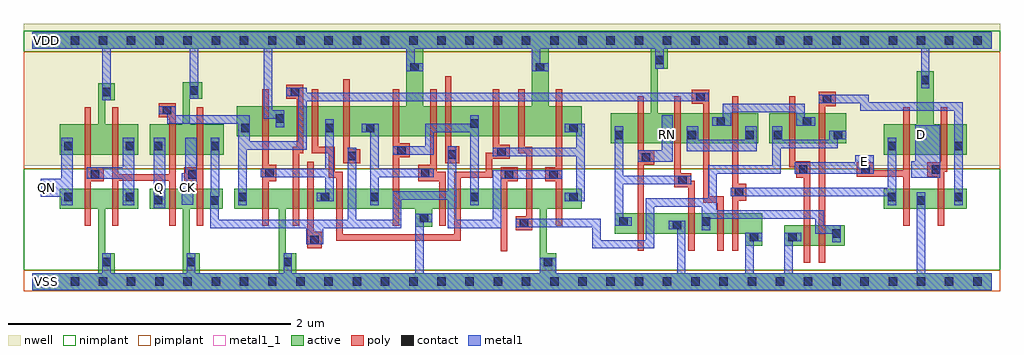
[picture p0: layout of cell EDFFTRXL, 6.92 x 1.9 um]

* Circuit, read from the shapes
.subckt EDFFTRXL CK D E Q QN RN VDD VSS
M1 VSS n1 QN VSS nfet w=0.145u l=0.045u
M2 n1 n2 VSS VSS nfet w=0.145u l=0.045u
M3 VSS n2 Q VSS nfet w=0.145u l=0.045u
M4 n3 CK VSS VSS nfet w=0.145u l=0.045u
M5 VSS n4 n2 VSS nfet w=0.145u l=0.045u
M6 n5 n2 VSS VSS nfet w=0.145u l=0.045u
M7 n4 n3 n5 VSS nfet w=0.145u l=0.045u
M8 n6 n7 n4 VSS nfet w=0.145u l=0.045u
M9 VSS n8 n6 VSS nfet w=0.145u l=0.045u
M10 n9 n6 VSS VSS nfet w=0.145u l=0.045u
M11 n8 n7 n9 VSS nfet w=0.145u l=0.045u
M12 n10 n3 n8 VSS nfet w=0.145u l=0.045u
M13 VSS n11 n10 VSS nfet w=0.145u l=0.045u
M14 n7 n3 VSS VSS nfet w=0.145u l=0.045u
M15 VSS RN n12 VSS nfet w=0.145u l=0.045u
M16 n11 n12 VSS VSS nfet w=0.145u l=0.045u
M17 n13 n2 n11 VSS nfet w=0.145u l=0.045u
M18 VSS n14 n13 VSS nfet w=0.145u l=0.045u
M19 n15 E VSS VSS nfet w=0.145u l=0.045u
M20 n11 n16 n15 VSS nfet w=0.145u l=0.045u
M21 VSS E n14 VSS nfet w=0.145u l=0.045u
M22 n16 D VSS VSS nfet w=0.145u l=0.045u
M23 VDD n1 QN VDD pfet w=0.215u l=0.045u
M24 n1 n2 VDD VDD pfet w=0.215u l=0.045u
M25 VDD n2 Q VDD pfet w=0.215u l=0.045u
M26 n3 CK VDD VDD pfet w=0.215u l=0.045u
M27 VDD n4 n2 VDD pfet w=0.215u l=0.045u
M28 n17 n2 VDD VDD pfet w=0.215u l=0.045u
M29 n4 n7 n17 VDD pfet w=0.215u l=0.045u
M30 n6 n3 n4 VDD pfet w=0.215u l=0.045u
M31 VDD n8 n6 VDD pfet w=0.215u l=0.045u
M32 n18 n6 VDD VDD pfet w=0.215u l=0.045u
M33 n8 n3 n18 VDD pfet w=0.215u l=0.045u
M34 n19 n7 n8 VDD pfet w=0.215u l=0.045u
M35 VDD n11 n19 VDD pfet w=0.215u l=0.045u
M36 n7 n3 VDD VDD pfet w=0.215u l=0.045u
M37 VDD RN n12 VDD pfet w=0.215u l=0.045u
M38 n20 n12 VDD VDD pfet w=0.215u l=0.045u
M39 n21 n2 n20 VDD pfet w=0.215u l=0.045u
M40 n20 n14 n21 VDD pfet w=0.215u l=0.045u
M41 n21 E n11 VDD pfet w=0.215u l=0.045u
M42 n11 n16 n21 VDD pfet w=0.215u l=0.045u
M43 VDD E n14 VDD pfet w=0.215u l=0.045u
M44 n16 D VDD VDD pfet w=0.215u l=0.045u
.ends

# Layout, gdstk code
import gdstk
lib = gdstk.Library(unit=1e-6, precision=5e-10)
def R(c, l, rs):  # rectangles x0, y0, x1, y1
    for r in rs: c.add(gdstk.rectangle(r[:2], r[2:], *l))
def A(c, l, x, y, w, h, nx, ny, dx, dy):  # array of equal rectangles
    R(c, l, [(x+i*dx, y+j*dy, x+i*dx+w, y+j*dy+h) for i in range(nx) for j in range(ny)])
def P(c, l, *ps):  # polygons
    for p in ps: c.add(gdstk.Polygon(p, *l))
active = (1, 0)
nwell = (2, 0)
poly = (3, 0)
nimplant = (4, 0)
pimplant = (5, 0)
contact = (6, 0)
metal1 = (7, 0)
metal1_1 = (7, 1)

edfftrxl = lib.new_cell('EDFFTRXL')
R(edfftrxl, active, [(5.33,0.255,5.76,0.4), (6.035,0.515,6.625,0.66), (5.225,0.98,5.77,1.195)])
P(edfftrxl, active, [(0,1.77),(6.8,1.77),(6.8,1.65),(4.505,1.65),(4.505,1.51),(4.435,1.51),(4.435,1.195),(5.145,1.195),(5.145,0.98),(4.1,0.98),(4.1,1.195),(4.385,1.195),(4.385,1.65),(3.66,1.65),(3.66,1.245),(3.895,1.245),(3.895,1.03),(1.45,1.03),(1.45,1.245),(2.65,1.245),(2.65,1.65),(2.77,1.65),(2.77,1.245),(3.54,1.245),(3.54,1.65),(0,1.65)],
  [(0.465,1.405),(0.585,1.405),(0.585,1.285),(0.515,1.285),(0.515,1.115),(0.75,1.115),(0.75,0.9),(0.195,0.9),(0.195,1.115),(0.465,1.115)],
  [(1.065,1.415),(1.205,1.415),(1.205,1.295),(1.115,1.295),(1.115,1.115),(1.355,1.115),(1.355,0.9),(0.83,0.9),(0.83,1.115),(1.065,1.115)],
  [(6.27,1.49),(6.39,1.49),(6.39,1.115),(6.625,1.115),(6.625,0.9),(6.035,0.9),(6.035,1.115),(6.27,1.115)],
  [(0.195,0.66),(0.75,0.66),(0.75,0.515),(0.515,0.515),(0.515,0.2),(0.585,0.2),(0.585,0.06),(1.065,0.06),(1.065,0.515),(0.83,0.515),(0.83,0.66),(1.35,0.66),(1.35,0.515),(1.115,0.515),(1.115,0.2),(1.185,0.2),(1.185,0.06),(1.745,0.06),(1.745,0.515),(1.795,0.515),(1.795,0.2),(1.87,0.2),(1.87,0.06),(3.595,0.06),(3.595,0.515),(2.835,0.515),(2.835,0.39),(2.715,0.39),(2.715,0.515),(1.43,0.515),(1.43,0.66),(3.895,0.66),(3.895,0.515),(3.645,0.515),(3.645,0.2),(3.715,0.2),(3.715,0.06),(6.8,0.06),(6.8,-0.06),(0,-0.06),(0,0.06),(0.465,0.06),(0.465,0.515),(0.195,0.515)],
  [(4.13,0.485),(5.175,0.485),(5.175,0.255),(5.055,0.255),(5.055,0.34),(4.13,0.34)])
R(edfftrxl, nwell, [(-0.06,0.82,6.86,1.83)])
P(edfftrxl, poly, [(1.8,1.395),(1.92,1.395),(1.92,0.91),(1.89,0.91),(1.89,0.395),(1.845,0.395),(1.845,0.955),(1.875,0.955),(1.875,1.295),(1.8,1.295)],
  [(0.37,1.235),(0.415,1.235),(0.415,0.81),(0.505,0.81),(0.505,0.71),(0.415,0.71),(0.415,0.395),(0.37,0.395)],
  [(0.565,1.235),(0.61,1.235),(0.61,0.76),(0.97,0.76),(0.97,1.165),(0.895,1.165),(0.895,1.265),(1.015,1.265),(1.015,0.395),(0.97,0.395),(0.97,0.715),(0.61,0.715),(0.61,0.395),(0.565,0.395)],
  [(1.63,1.365),(1.675,1.365),(1.675,0.83),(1.73,0.83),(1.73,0.71),(1.675,0.71),(1.675,0.395),(1.63,0.395)],
  [(1.98,1.365),(2.025,1.365),(2.025,0.955),(2.145,0.955),(2.145,0.78),(2.2,0.78),(2.2,0.335),(2.99,0.335),(2.99,0.78),(3.215,0.78),(3.215,0.915),(3.265,0.915),(3.265,1.365),(3.31,1.365),(3.31,0.97),(3.385,0.97),(3.385,0.87),(3.26,0.87),(3.26,0.735),(3.035,0.735),(3.035,0.29),(2.155,0.29),(2.155,0.735),(2.1,0.735),(2.1,0.91),(1.98,0.91)],
  [(2.205,1.435),(2.25,1.435),(2.25,0.94),(2.325,0.94),(2.325,0.84),(2.205,0.84)],
  [(2.555,1.365),(2.6,1.365),(2.6,0.98),(2.675,0.98),(2.675,0.88),(2.6,0.88),(2.6,0.395),(2.555,0.395)],
  [(2.82,1.365),(2.865,1.365),(2.865,0.78),(2.93,0.78),(2.93,0.395),(2.885,0.395),(2.885,0.71),(2.735,0.71),(2.735,0.83),(2.82,0.83)],
  [(2.925,1.455),(2.97,1.455),(2.97,0.96),(3.025,0.96),(3.025,0.84),(2.925,0.84)],
  [(3.445,1.365),(3.49,1.365),(3.49,0.955),(3.545,0.955),(3.545,0.365),(3.425,0.365),(3.425,0.465),(3.5,0.465),(3.5,0.91),(3.445,0.91)],
  [(3.71,1.365),(3.755,1.365),(3.755,0.395),(3.71,0.395),(3.71,0.71),(3.635,0.71),(3.635,0.81),(3.71,0.81)],
  [(1.165,1.235),(1.21,1.235),(1.21,0.395),(1.165,0.395),(1.165,0.71),(1.075,0.71),(1.075,0.81),(1.165,0.81)],
  [(4.29,1.315),(4.335,1.315),(4.335,0.93),(4.41,0.93),(4.41,0.83),(4.335,0.83),(4.335,0.22),(4.29,0.22)],
  [(4.675,1.36),(4.8,1.36),(4.8,0.605),(4.9,0.605),(4.9,0.22),(4.855,0.22),(4.855,0.56),(4.755,0.56),(4.755,1.26),(4.675,1.26)],
  [(4.55,1.315),(4.595,1.315),(4.595,0.77),(4.67,0.77),(4.67,0.715),(4.695,0.715),(4.695,0.22),(4.65,0.22),(4.65,0.67),(4.55,0.67)],
  [(5.575,1.345),(5.695,1.345),(5.695,1.245),(5.62,1.245),(5.62,0.135),(5.575,0.135)],
  [(4.96,1.315),(5.005,1.315),(5.005,0.695),(5.06,0.695),(5.06,0.575),(5.005,0.575),(5.005,0.22),(4.96,0.22)],
  [(5.365,1.315),(5.41,1.315),(5.41,0.855),(5.515,0.855),(5.515,0.135),(5.47,0.135),(5.47,0.735),(5.415,0.735),(5.415,0.81),(5.365,0.81)],
  [(5.845,0.845),(5.965,0.845),(5.965,0.79),(6.175,0.79),(6.175,1.235),(6.22,1.235),(6.22,0.395),(6.175,0.395),(6.175,0.745),(5.845,0.745)],
  [(6.44,1.235),(6.485,1.235),(6.485,0.78),(6.465,0.78),(6.465,0.395),(6.42,0.395),(6.42,0.745),(6.345,0.745),(6.345,0.845),(6.44,0.845)],
  [(3.32,0.81),(3.44,0.81),(3.44,0.71),(3.365,0.71),(3.365,0.215),(3.32,0.215)],
  [(1.95,0.85),(1.995,0.85),(1.995,0.355),(2.05,0.355),(2.05,0.235),(1.95,0.235)])
R(edfftrxl, nimplant, [(-0.06,0.08,6.86,0.8), (-0.06,1.63,6.86,1.78)])
R(edfftrxl, pimplant, [(-0.06,-0.07,6.86,0.08), (-0.06,0.8,6.86,1.63)])
A(edfftrxl, contact, 0.07, -0.03, 0.06, 0.06, 34, 2, 0.2, 1.71)
R(edfftrxl, contact, [(0.495,0.11,0.555,0.17), (1.095,0.11,1.155,0.17), (1.78,0.11,1.84,0.17), (3.625,0.11,3.685,0.17), (1.97,0.265,2.03,0.325), (5.085,0.285,5.145,0.345), (5.36,0.285,5.42,0.345), (5.67,0.31,5.73,0.37), (4.54,0.37,4.6,0.43), (3.455,0.385,3.515,0.445), (4.16,0.395,4.22,0.455), (4.745,0.395,4.805,0.455), (2.745,0.42,2.805,0.48), (1.26,0.545,1.32,0.605), (6.27,0.545,6.33,0.605), (0.86,0.55,0.92,0.61), (0.225,0.57,0.285,0.63), (0.66,0.57,0.72,0.63), (1.46,0.57,1.52,0.63), (2.045,0.57,2.105,0.63), (2.395,0.57,2.455,0.63), (3.105,0.57,3.165,0.63), (3.805,0.57,3.865,0.63), (6.065,0.57,6.125,0.63), (6.535,0.57,6.595,0.63), (4.98,0.605,5.04,0.665), (4.58,0.69,4.64,0.75), (0.415,0.73,0.475,0.79), (1.105,0.73,1.165,0.79), (3.35,0.73,3.41,0.79), (3.665,0.73,3.725,0.79), (1.65,0.74,1.71,0.8), (2.755,0.74,2.815,0.8), (5.435,0.765,5.495,0.825), (5.875,0.765,5.935,0.825), (6.375,0.765,6.435,0.825), (4.32,0.85,4.38,0.91), (2.235,0.86,2.295,0.92), (2.945,0.87,3.005,0.93), (3.295,0.89,3.355,0.95), (2.585,0.9,2.645,0.96), (0.225,0.93,0.285,0.99), (0.66,0.93,0.72,0.99), (0.86,0.93,0.92,0.99), (1.265,0.93,1.325,0.99), (6.065,0.93,6.125,0.99), (6.535,0.93,6.595,0.99), (4.13,1.01,4.19,1.07), (4.645,1.01,4.705,1.07), (5.055,1.01,5.115,1.07), (5.255,1.01,5.315,1.07), (5.68,1.01,5.74,1.07), (1.48,1.06,1.54,1.12), (2.075,1.06,2.135,1.12), (2.365,1.06,2.425,1.12), (3.805,1.06,3.865,1.12), (3.105,1.09,3.165,1.15), (4.85,1.105,4.91,1.165), (5.46,1.105,5.52,1.165), (1.725,1.125,1.785,1.185), (0.925,1.185,0.985,1.245), (5.605,1.265,5.665,1.325), (4.705,1.28,4.765,1.34), (0.495,1.315,0.555,1.375), (1.83,1.315,1.89,1.375), (1.115,1.325,1.175,1.385), (6.3,1.4,6.36,1.46), (2.68,1.49,2.74,1.55), (3.57,1.49,3.63,1.55), (4.415,1.54,4.475,1.6)])
R(edfftrxl, metal1, [(0.86,0.52,0.94,1.02)])
P(edfftrxl, metal1, [(0,1.77),(6.8,1.77),(6.8,1.65),(6.36,1.65),(6.36,1.37),(6.3,1.37),(6.3,1.65),(4.475,1.65),(4.475,1.51),(4.415,1.51),(4.415,1.65),(3.6,1.65),(3.6,1.55),(3.66,1.55),(3.66,1.49),(3.54,1.49),(3.54,1.65),(2.71,1.65),(2.71,1.55),(2.77,1.55),(2.77,1.49),(2.65,1.49),(2.65,1.65),(1.7,1.65),(1.7,1.215),(1.785,1.215),(1.785,1.095),(1.725,1.095),(1.725,1.155),(1.64,1.155),(1.64,1.65),(1.175,1.65),(1.175,1.295),(1.115,1.295),(1.115,1.65),(0.555,1.65),(0.555,1.285),(0.495,1.285),(0.495,1.65),(0,1.65)],
  [(1.8,1.375),(1.945,1.375),(1.945,1.34),(4.795,1.34),(4.795,1.28),(1.945,1.28),(1.945,0.935),(1.52,0.935),(1.52,0.54),(1.46,0.54),(1.46,1.12),(0.955,1.12),(0.955,1.185),(0.895,1.185),(0.895,1.245),(1.015,1.245),(1.015,1.18),(1.54,1.18),(1.54,0.995),(1.885,0.995),(1.885,1.315),(1.8,1.315)],
  [(5.575,1.325),(5.93,1.325),(5.93,1.27),(6.595,1.27),(6.595,0.54),(6.535,0.54),(6.535,1.21),(5.87,1.21),(5.87,1.265),(5.575,1.265)],
  [(4.895,1.26),(5.475,1.26),(5.475,1.165),(5.55,1.165),(5.55,1.105),(5.415,1.105),(5.415,1.2),(4.955,1.2),(4.955,1.105),(4.82,1.105),(4.82,1.165),(4.895,1.165)],
  [(0.205,1.02),(0.285,1.02),(0.285,0.54),(0.205,0.54),(0.205,0.6),(0.06,0.6),(0.06,0.73),(0.205,0.73)],
  [(0.64,1.02),(0.72,1.02),(0.72,0.54),(0.64,0.54),(0.64,0.73),(0.385,0.73),(0.385,0.81),(0.64,0.81)],
  [(1.265,1.02),(1.325,1.02),(1.325,0.6),(1.32,0.6),(1.32,0.44),(2.235,0.44),(2.235,0.95),(2.295,0.95),(2.295,0.44),(2.555,0.44),(2.555,0.64),(2.945,0.64),(2.945,0.96),(3.005,0.96),(3.005,0.44),(3.265,0.44),(3.265,0.79),(3.755,0.79),(3.755,0.73),(3.325,0.73),(3.325,0.38),(2.945,0.38),(2.945,0.58),(2.615,0.58),(2.615,0.38),(2.06,0.38),(2.06,0.265),(1.94,0.265),(1.94,0.38),(1.26,0.38),(1.26,0.635),(1.265,0.635)],
  [(1.085,1.02),(1.165,1.02),(1.165,0.69),(1.14,0.69),(1.14,0.545),(1.06,0.545),(1.06,0.77),(1.085,0.77)],
  [(2.075,1.15),(2.135,1.15),(2.135,0.57),(2.015,0.57),(2.015,0.63),(2.075,0.63),(2.075,0.74),(1.62,0.74),(1.62,0.8),(2.075,0.8)],
  [(3.105,1.18),(3.165,1.18),(3.165,0.54),(3.105,0.54),(3.105,1.06),(2.845,1.06),(2.845,0.9),(2.555,0.9),(2.555,0.96),(2.785,0.96),(2.785,1.12),(3.105,1.12)],
  [(2.335,1.12),(2.455,1.12),(2.455,0.8),(2.845,0.8),(2.845,0.74),(2.455,0.74),(2.455,0.54),(2.395,0.54),(2.395,1.06),(2.335,1.06)],
  [(3.775,1.12),(3.915,1.12),(3.915,0.57),(3.775,0.57),(3.775,0.63),(3.855,0.63),(3.855,0.89),(3.265,0.89),(3.265,0.95),(3.855,0.95),(3.855,1.06),(3.775,1.06)],
  [(4.13,1.1),(4.19,1.1),(4.19,0.75),(4.67,0.75),(4.67,0.69),(4.19,0.69),(4.19,0.455),(4.25,0.455),(4.25,0.395),(4.13,0.395)],
  [(2.715,0.48),(2.835,0.48),(2.835,0.42),(2.775,0.42),(2.775,0.06),(3.595,0.06),(3.595,0.17),(3.715,0.17),(3.715,0.06),(4.57,0.06),(4.57,0.37),(4.51,0.37),(4.51,0.43),(4.63,0.43),(4.63,0.06),(5.055,0.06),(5.055,0.345),(5.175,0.345),(5.175,0.285),(5.115,0.285),(5.115,0.06),(5.33,0.06),(5.33,0.345),(5.45,0.345),(5.45,0.285),(5.39,0.285),(5.39,0.06),(6.27,0.06),(6.27,0.635),(6.33,0.635),(6.33,0.06),(6.8,0.06),(6.8,-0.06),(0,-0.06),(0,0.06),(0.495,0.06),(0.495,0.2),(0.555,0.2),(0.555,0.06),(1.095,0.06),(1.095,0.2),(1.155,0.2),(1.155,0.06),(1.78,0.06),(1.78,0.2),(1.84,0.2),(1.84,0.06),(2.715,0.06)],
  [(4.64,1.1),(4.72,1.1),(4.72,1.005),(5.055,1.005),(5.055,1.1),(5.135,1.1),(5.135,0.925),(4.64,0.925)],
  [(4.46,1.18),(4.54,1.18),(4.54,0.85),(4.29,0.85),(4.29,0.93),(4.46,0.93)],
  [(5.245,1.1),(5.315,1.1),(5.315,1.005),(5.65,1.005),(5.65,1.07),(5.77,1.07),(5.77,1.01),(5.71,1.01),(5.71,0.945),(5.305,0.945),(5.305,0.765),(4.85,0.765),(4.85,0.505),(5.61,0.505),(5.61,0.4),(5.73,0.4),(5.73,0.28),(5.67,0.28),(5.67,0.34),(5.55,0.34),(5.55,0.445),(4.805,0.445),(4.805,0.365),(4.745,0.365),(4.745,0.53),(4.41,0.53),(4.41,0.235),(3.97,0.235),(3.97,0.385),(3.425,0.385),(3.425,0.445),(4.03,0.445),(4.03,0.295),(4.35,0.295),(4.35,0.59),(4.79,0.59),(4.79,0.825),(5.245,0.825)],
  [(5.835,0.895),(5.965,0.895),(5.965,0.765),(5.405,0.765),(5.405,0.845),(5.835,0.845)],
  [(6.065,1.02),(6.125,1.02),(6.125,0.54),(6.065,0.54),(6.065,0.605),(4.95,0.605),(4.95,0.665),(6.065,0.665)],
  [(6.26,1.11),(6.435,1.11),(6.435,0.735),(6.23,0.735),(6.23,0.855),(6.26,0.855)])
R(edfftrxl, metal1_1, [(0.06,-0.04,0.14,0.04), (0.06,0.625,0.14,0.705), (0.86,0.625,0.94,0.705), (1.06,0.625,1.14,0.705), (5.86,0.815,5.94,0.895), (4.46,1.005,4.54,1.085), (6.26,1.005,6.34,1.085), (0.06,1.67,0.14,1.75)])
edfftrxl.add(gdstk.Label('Q', (0.9,0.665), layer=7, texttype=1))
edfftrxl.add(gdstk.Label('QN', (0.1,0.665), layer=7, texttype=1))
edfftrxl.add(gdstk.Label('D', (6.3,1.045), layer=7, texttype=1))
edfftrxl.add(gdstk.Label('E', (5.9,0.855), layer=7, texttype=1))
edfftrxl.add(gdstk.Label('RN', (4.5,1.045), layer=7, texttype=1))
edfftrxl.add(gdstk.Label('CK', (1.1,0.665), layer=7, texttype=1))
edfftrxl.add(gdstk.Label('VDD', (0.1,1.71), layer=7, texttype=1))
edfftrxl.add(gdstk.Label('VSS', (0.1,0), layer=7, texttype=1))
edfftrxl.add(gdstk.Label('EDFFTRXL', (0,0), layer=63, texttype=0))

lib.write_gds('EDFFTRXL.gds')
